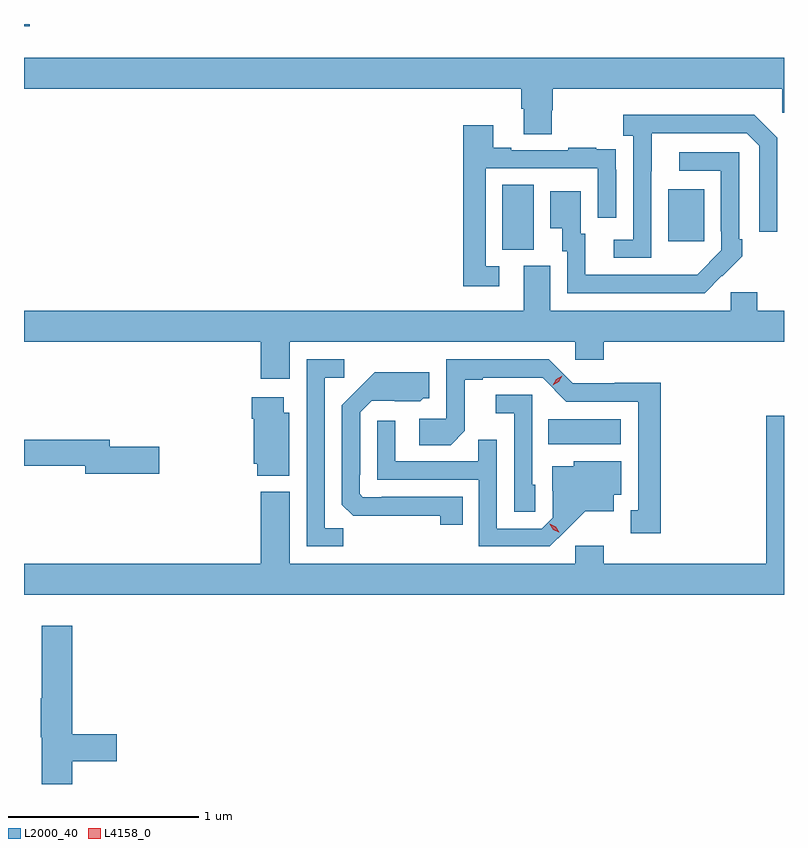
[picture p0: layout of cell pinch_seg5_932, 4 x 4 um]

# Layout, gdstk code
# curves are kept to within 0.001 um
import gdstk
lib = gdstk.Library(unit=1e-6, precision=1e-09)
def R(c, l, rs):  # rectangles x0, y0, x1, y1
    for r in rs: c.add(gdstk.rectangle(r[:2], r[2:], *l))
def P(c, l, *ps):  # polygons
    for p in ps: c.add(gdstk.Polygon(p, *l))
L2000_40 = (2000, 40)
L4158_0 = (4158, 0)

pinch_seg5_932 = lib.new_cell('pinch_seg5_932')
R(pinch_seg5_932, L2000_40, [(689.704,888.188,690.085,888.322), (689.462,889.213,689.626,889.556), (690.335,889.257,690.523,889.531), (686.944,890.388,686.975,890.401)])
P(pinch_seg5_932, L2000_40, [(689.721,889.947),(689.726,889.947),(689.726,890.06),(690.936,890.06),(690.936,889.934),(690.944,889.934),(690.944,890.224),(686.944,890.224),(686.944,890.06),(689.561,890.06),(689.561,889.954),(689.573,889.954),(689.573,889.822),(689.721,889.822)],
  [(690.246,889.627),(690.247,889.827),(690.747,889.827),(690.813,889.761),(690.813,889.308),(690.909,889.308),(690.909,889.803),(690.788,889.924),(690.099,889.924),(690.099,889.814),(690.15,889.814),(690.15,889.266),(690.048,889.266),(690.048,889.17),(690.246,889.17)],
  [(689.446,889.125),(689.373,889.125),(689.373,889.641),(689.964,889.641),(689.964,889.38),(690.06,889.38),(690.06,889.634),(690.059,889.634),(690.059,889.743),(689.957,889.743),(689.957,889.75),(689.809,889.75),(689.809,889.737),(689.509,889.737),(689.509,889.75),(689.413,889.75),(689.413,889.867),(689.257,889.867),(689.257,889.02),(689.446,889.02)],
  [(690.617,889.075),(690.618,889.074),(690.723,889.179),(690.723,889.267),(690.708,889.267),(690.708,889.725),(690.393,889.725),(690.393,889.629),(690.612,889.629),(690.612,889.309),(690.615,889.309),(690.615,889.209),(690.487,889.081),(689.899,889.08),(689.899,889.296),(689.875,889.296),(689.875,889.522),(689.714,889.522),(689.714,889.325),(689.777,889.325),(689.777,889.206),(689.802,889.206),(689.802,888.984),(690.526,888.984)],
  [(688.342,888.728),(689.844,888.728),(689.844,888.635),(689.996,888.635),(689.996,888.728),(690.944,888.728),(690.944,888.892),(690.802,888.892),(690.802,888.99),(690.663,888.99),(690.663,888.892),(689.713,888.892),(689.713,889.128),(689.573,889.128),(689.573,888.892),(686.944,888.892),(686.944,888.728),(688.19,888.728),(688.19,888.534),(688.342,888.534)],
  [(690.295,888.512),(690.054,888.512),(690.054,888.51),(689.832,888.51),(689.706,888.636),(689.166,888.636),(689.166,888.324),(689.025,888.324),(689.025,888.184),(689.189,888.184),(689.265,888.26),(689.265,888.528),(689.359,888.528),(689.359,888.54),(689.673,888.54),(689.799,888.414),(690.176,888.414),(690.176,887.841),(690.137,887.841),(690.137,887.721),(690.295,887.721)],
  [(688.623,887.747),(688.527,887.747),(688.527,888.54),(688.63,888.54),(688.63,888.636),(688.431,888.636),(688.431,887.652),(688.623,887.652)],
  [(689.252,887.913),(688.828,887.913),(688.828,887.91),(688.728,887.91),(688.71,887.928),(688.71,888.028),(688.713,888.028),(688.713,888.357),(688.773,888.417),(689.03,888.416),(689.046,888.432),(689.077,888.432),(689.077,888.568),(688.789,888.568),(688.617,888.394),(688.617,887.872),(688.676,887.813),(689.134,887.812),(689.134,887.766),(689.252,887.766)],
  [(689.634,887.976),(689.619,887.976),(689.619,888.45),(689.427,888.45),(689.427,888.353),(689.523,888.353),(689.523,887.833),(689.634,887.833)],
  [(688.339,888.354),(688.312,888.354),(688.312,888.436),(688.142,888.436),(688.142,888.323),(688.154,888.323),(688.154,888.087),(688.172,888.087),(688.172,888.023),(688.339,888.023)],
  [(690.944,888.34),(690.851,888.34),(690.851,887.56),(689.996,887.56),(689.996,887.656),(689.844,887.656),(689.844,887.56),(688.342,887.56),(688.342,887.938),(688.19,887.938),(688.19,887.56),(686.944,887.56),(686.944,887.396),(690.944,887.396)],
  [(689.794,887.735),(689.897,887.837),(690.049,887.837),(690.049,887.924),(690.088,887.924),(690.088,888.1),(689.838,888.1),(689.838,888.073),(689.723,888.073),(689.723,887.944),(689.727,887.944),(689.727,887.802),(689.67,887.745),(689.433,887.745),(689.433,888.212),(689.335,888.212),(689.335,888.099),(688.899,888.099),(688.899,888.313),(688.803,888.313),(688.803,888.003),(689.337,888.003),(689.337,887.652),(689.71,887.652)],
  [(687.655,888.176),(687.394,888.176),(687.394,888.212),(686.944,888.212),(686.944,888.076),(687.266,888.076),(687.266,888.034),(687.655,888.034)],
  [(687.197,886.522),(687.433,886.522),(687.433,886.664),(687.197,886.664),(687.197,887.233),(687.038,887.233),(687.038,886.853),(687.031,886.853),(687.031,886.647),(687.038,886.647),(687.038,886.401),(687.197,886.401)])
P(pinch_seg5_932, L4158_0, [(689.759,887.725),(689.729,887.74),(689.711,887.769),(689.711,887.77),(689.712,887.77),(689.742,887.755),(689.76,887.726),(689.76,887.725)],
  [(689.728,888.499),(689.728,888.499),(689.745,888.532),(689.776,888.551),(689.777,888.551),(689.777,888.551),(689.759,888.518),(689.728,888.499)])

lib.write_gds('pinch_seg5_932.gds')
